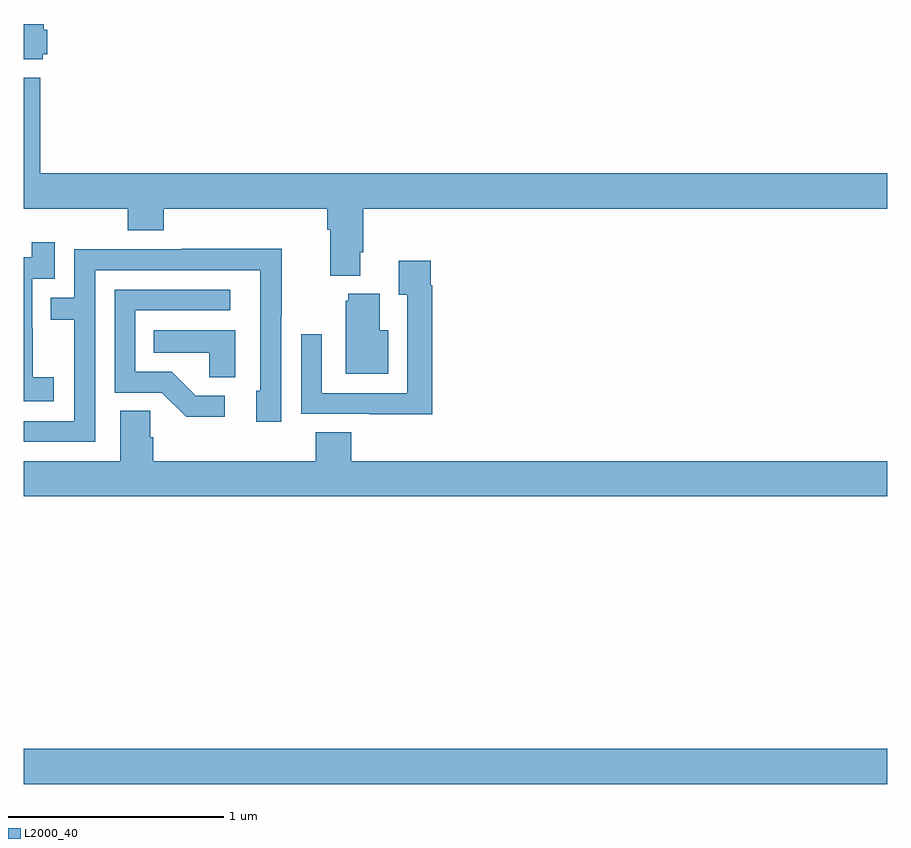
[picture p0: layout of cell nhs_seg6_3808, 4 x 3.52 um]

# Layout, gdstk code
import gdstk
lib = gdstk.Library(unit=1e-6, precision=1e-09)
def R(c, l, rs):  # rectangles x0, y0, x1, y1
    for r in rs: c.add(gdstk.rectangle(r[:2], r[2:], *l))
def P(c, l, *ps):  # polygons
    for p in ps: c.add(gdstk.Polygon(p, *l))
L2000_40 = (2000, 40)

nhs_seg6_3808 = lib.new_cell('nhs_seg6_3808')
R(nhs_seg6_3808, L2000_40, [(335,969.98,339,970.144)])
P(nhs_seg6_3808, L2000_40, [(335.088,973.359),(335.11,973.359),(335.11,973.473),(335.092,973.473),(335.092,973.5),(335,973.5),(335,973.337),(335.088,973.337)],
  [(335.077,973.252),(335,973.252),(335,972.644),(335.483,972.644),(335.483,972.545),(335.648,972.545),(335.648,972.644),(336.407,972.644),(336.407,972.548),(336.419,972.548),(336.419,972.335),(336.559,972.335),(336.559,972.442),(336.572,972.442),(336.572,972.644),(339,972.644),(339,972.808),(335.077,972.808)],
  [(335.14,971.863),(335.042,971.863),(335.042,972.092),(335.04,972.092),(335.04,972.321),(335.145,972.321),(335.145,972.49),(335.037,972.49),(335.037,972.42),(335,972.42),(335,971.753),(335.14,971.753)],
  [(335.331,972.36),(336.096,972.36),(336.096,971.802),(336.077,971.802),(336.077,971.658),(336.192,971.658),(336.192,972.151),(336.195,972.151),(336.195,972.458),(335.731,972.458),(335.731,972.456),(335.235,972.456),(335.235,972.231),(335.125,972.231),(335.125,972.13),(335.235,972.13),(335.235,971.661),(335,971.661),(335,971.565),(335.331,971.565)],
  [(336.893,972.29),(336.886,972.29),(336.886,972.403),(336.737,972.403),(336.737,972.247),(336.777,972.247),(336.777,971.79),(336.381,971.79),(336.381,972.064),(336.285,972.064),(336.285,971.694),(336.601,971.694),(336.601,971.693),(336.893,971.693)],
  [(335.932,971.778),(335.797,971.778),(335.686,971.889),(335.517,971.889),(335.517,972.174),(335.956,972.174),(335.956,972.27),(335.421,972.27),(335.421,971.793),(335.64,971.793),(335.753,971.681),(335.932,971.681)],
  [(336.688,972.082),(336.649,972.082),(336.649,972.25),(336.503,972.25),(336.503,972.219),(336.491,972.219),(336.491,971.879),(336.688,971.879)],
  [(335.98,972.082),(335.602,972.082),(335.602,971.978),(335.859,971.978),(335.859,971.863),(335.98,971.863)],
  [(339,971.476),(336.518,971.476),(336.518,971.609),(336.353,971.609),(336.353,971.476),(335.6,971.476),(335.6,971.585),(335.586,971.585),(335.586,971.708),(335.447,971.708),(335.447,971.476),(335,971.476),(335,971.312),(339,971.312)])

lib.write_gds('nhs_seg6_3808.gds')
